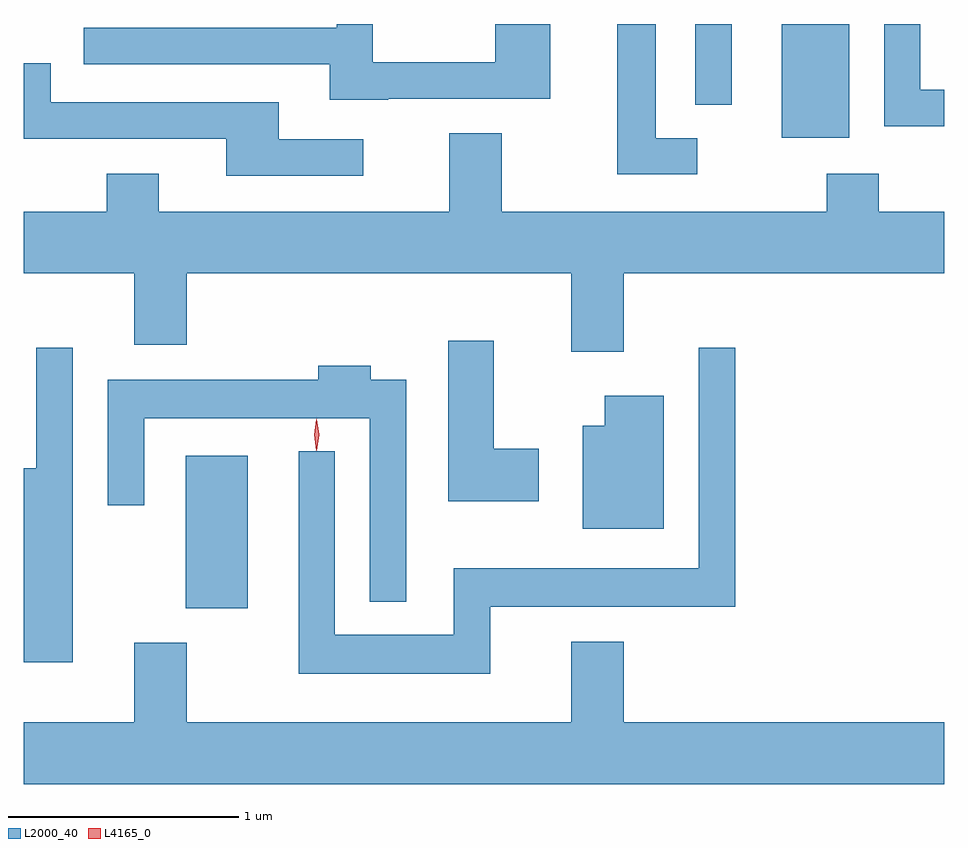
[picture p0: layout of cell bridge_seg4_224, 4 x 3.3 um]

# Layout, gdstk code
import gdstk
lib = gdstk.Library(unit=1e-6, precision=1e-09)
def R(c, l, rs):  # rectangles x0, y0, x1, y1
    for r in rs: c.add(gdstk.rectangle(r[:2], r[2:], *l))
def P(c, l, *ps):  # polygons
    for p in ps: c.add(gdstk.Polygon(p, *l))
L2000_40 = (2000, 40)
L4165_0 = (4165, 0)

bridge_seg4_224 = lib.new_cell('bridge_seg4_224')
R(bridge_seg4_224, L2000_40, [(969.326,1319.921,969.594,1320.584), (971.916,1321.966,972.209,1322.46), (971.541,1322.108,971.699,1322.46)])
P(bridge_seg4_224, L2000_40, [(972.622,1322.174),(972.519,1322.174),(972.519,1322.46),(972.361,1322.46),(972.361,1322.016),(972.622,1322.016)],
  [(970.205,1322.136),(970.909,1322.136),(970.909,1322.46),(970.671,1322.46),(970.671,1322.294),(970.139,1322.294),(970.139,1322.46),(969.981,1322.46),(969.981,1322.444),(968.883,1322.444),(968.883,1322.286),(969.951,1322.286),(969.951,1322.131),(970.205,1322.131)],
  [(971.548,1321.964),(971.369,1321.964),(971.369,1322.46),(971.201,1322.46),(971.201,1321.806),(971.548,1321.806)],
  [(970.098,1321.959),(969.729,1321.959),(969.729,1322.119),(968.739,1322.119),(968.739,1322.289),(968.622,1322.289),(968.622,1321.961),(969.501,1321.961),(969.501,1321.801),(970.098,1321.801)],
  [(971.229,1321.376),(972.622,1321.376),(972.622,1321.644),(972.339,1321.644),(972.339,1321.809),(972.111,1321.809),(972.111,1321.644),(970.699,1321.644),(970.699,1321.984),(970.471,1321.984),(970.471,1321.644),(969.209,1321.644),(969.209,1321.809),(968.981,1321.809),(968.981,1321.644),(968.622,1321.644),(968.622,1321.376),(969.101,1321.376),(969.101,1321.066),(969.329,1321.066),(969.329,1321.376),(971.001,1321.376),(971.001,1321.036),(971.229,1321.036)],
  [(970.859,1320.614),(970.664,1320.614),(970.664,1321.084),(970.466,1321.084),(970.466,1320.386),(970.859,1320.386)],
  [(968.834,1321.053),(968.676,1321.053),(968.676,1320.529),(968.622,1320.529),(968.622,1319.686),(968.834,1319.686)],
  [(970.649,1319.926),(971.714,1319.926),(971.714,1321.053),(971.556,1321.053),(971.556,1320.094),(970.491,1320.094),(970.491,1319.804),(969.974,1319.804),(969.974,1320.603),(969.816,1320.603),(969.816,1319.636),(970.649,1319.636)],
  [(970.284,1320.914),(970.129,1320.914),(970.129,1320.974),(969.901,1320.974),(969.901,1320.914),(968.986,1320.914),(968.986,1320.368),(969.144,1320.368),(969.144,1320.746),(970.126,1320.746),(970.126,1319.948),(970.284,1319.948)],
  [(971.404,1320.844),(971.146,1320.844),(971.146,1320.714),(971.051,1320.714),(971.051,1320.266),(971.404,1320.266)],
  [(972.622,1319.424),(971.229,1319.424),(971.229,1319.774),(971.001,1319.774),(971.001,1319.424),(969.329,1319.424),(969.329,1319.769),(969.101,1319.769),(969.101,1319.424),(968.622,1319.424),(968.622,1319.156),(972.622,1319.156)])
P(bridge_seg4_224, L4165_0, [(969.894,1320.604),(969.885,1320.674),(969.894,1320.742),(969.895,1320.743),(969.895,1320.742),(969.905,1320.674),(969.895,1320.604),(969.895,1320.604)],
  [(969.894,1320.607),(969.893,1320.608),(969.884,1320.674),(969.893,1320.74),(969.894,1320.74),(969.894,1320.74),(969.904,1320.674),(969.894,1320.608)])

lib.write_gds('bridge_seg4_224.gds')
